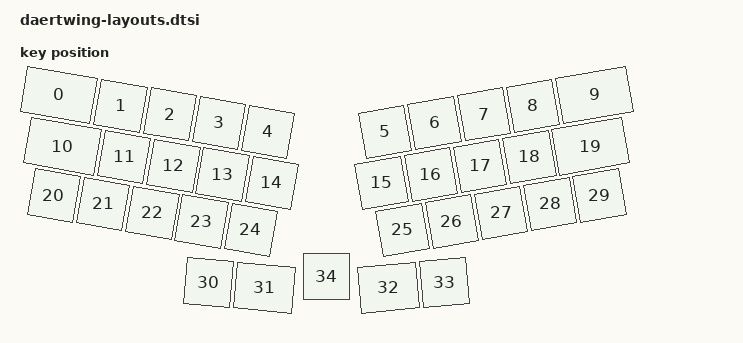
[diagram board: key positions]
#include <physical_layouts.dtsi>

/ {
    physical_layout0: physical_layout_0 {
        compatible = "zmk,physical-layout";
        display-name = "daertwing";

        kscan = <&kscan0>;
        transform = <&default_transform>;

        keys  //                     w   h    x    y     rot    rx    ry
            = <&key_physical_attrs 150 100    0    0    1000 (-50)     0>
            , <&key_physical_attrs 100 100  150    0    1000 (-50)     0>
            , <&key_physical_attrs 100 100  250    0    1000 (-50)     0>
            , <&key_physical_attrs 100 100  350    0    1000 (-50)     0>
            , <&key_physical_attrs 100 100  450    0    1000 (-50)     0>
            , <&key_physical_attrs 100 100  650    0 (-1000)  1250     0>
            , <&key_physical_attrs 100 100  750    0 (-1000)  1250     0>
            , <&key_physical_attrs 100 100  850    0 (-1000)  1250     0>
            , <&key_physical_attrs 100 100  950    0 (-1000)  1250     0>
            , <&key_physical_attrs 150 100 1050    0 (-1000)  1250     0>
            , <&key_physical_attrs 150 100   25  100    1000 (-50)     0>
            , <&key_physical_attrs 100 100  175  100    1000 (-50)     0>
            , <&key_physical_attrs 100 100  275  100    1000 (-50)     0>
            , <&key_physical_attrs 100 100  375  100    1000 (-50)     0>
            , <&key_physical_attrs 100 100  475  100    1000 (-50)     0>
            , <&key_physical_attrs 100 100  625  100 (-1000)  1250     0>
            , <&key_physical_attrs 100 100  725  100 (-1000)  1250     0>
            , <&key_physical_attrs 100 100  825  100 (-1000)  1250     0>
            , <&key_physical_attrs 100 100  925  100 (-1000)  1250     0>
            , <&key_physical_attrs 150 100 1025  100 (-1000)  1250     0>
            , <&key_physical_attrs 100 100   50  200    1000 (-50)     0>
            , <&key_physical_attrs 100 100  150  200    1000 (-50)     0>
            , <&key_physical_attrs 100 100  250  200    1000 (-50)     0>
            , <&key_physical_attrs 100 100  350  200    1000 (-50)     0>
            , <&key_physical_attrs 100 100  450  200    1000 (-50)     0>
            , <&key_physical_attrs 100 100  650  200 (-1000)  1250     0>
            , <&key_physical_attrs 100 100  750  200 (-1000)  1250     0>
            , <&key_physical_attrs 100 100  850  200 (-1000)  1250     0>
            , <&key_physical_attrs 100 100  950  200 (-1000)  1250     0>
            , <&key_physical_attrs 100 100 1050  200 (-1000)  1250     0>
            , <&key_physical_attrs 100 100  325  360     500 (-50)   300>
            , <&key_physical_attrs 125 100  425  360     500 (-50)   300>
            , <&key_physical_attrs 125 100  650  360  (-500)  1250   300>
            , <&key_physical_attrs 100 100  775  360  (-500)  1250   300>
            , <&key_physical_attrs 100 100  550  385       0     0     0>
            ;
    };
};
